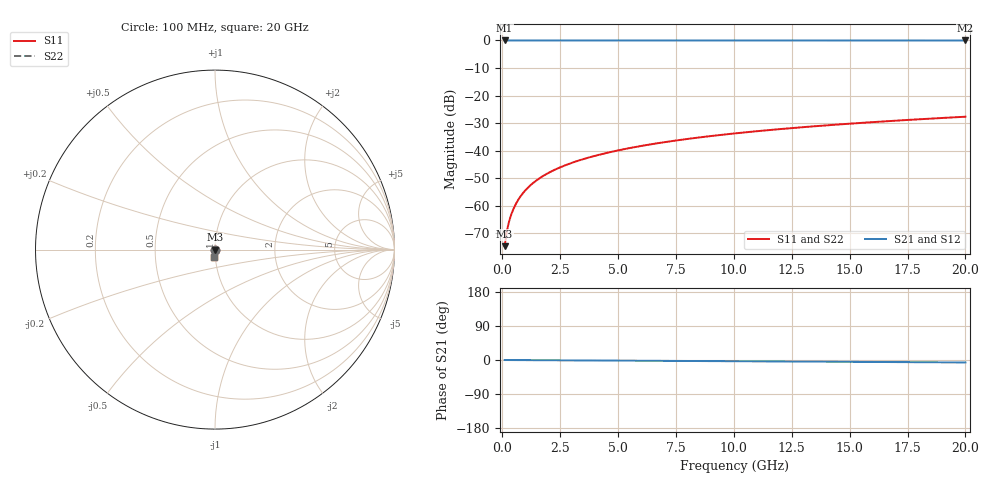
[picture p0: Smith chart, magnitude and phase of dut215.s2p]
! Touchstone file exported from HFSS 2026.1.0
!  File:  C:/ffzhzh/LocalFiles/Ansys_Project_Files/temp_train_TSV_215_1782992068_41620.aedt
!  Generated:  07:35:51 PM Jul  2, 2026
!  Design:  TSV
!  Project:  temp_train_TSV_215_1782992068_41620
! Variables:
!  h_bsmrdl = 2um
!  h_ox = 20um
!  h_rdl = 5um
!  h_sub = 60.42um
!  h_tmrdl = 5um
!  h_tsv = 60.42um
!  h_via = 3um
!  l_bsmrdl = 300um
!  l_sub = 427.28um
!  l_tmrdl = 200um
!  m_sub = 200um
!  pitch = 39.46um
!  r_tsv = 13.64um
!  s_tmrdl = 10um
!  w_bsmrdl = 18um
!  w_sub = 500um
!  w_tmrdl = 12um
!  x_tsv_center1 = 206um
!  x_tsv_center2 = 524um
!  x_tsv_center3 = 736um
!  x_tsv_center4 = 1054um
!  x_tsv_center5 = 1266um
!  x_tsv_center6 = 1584um
# GHz S MA R 50.000000
! Terminal data exported
! Port[1] = TSV1_1_T1
! Port[2] = TSV1_1_T2
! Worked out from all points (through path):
!   200 points, 100 MHz to 20 GHz, reference 50 ohm
!   highest |S21| = 0.00 dB at 100 MHz (marker M1); lowest = 0.0 dB at 20 GHz (marker M2)
!   lowest |S11| = -74.7 dB at 100 MHz (marker M3), VSWR 1.00, Z = 50 - j0.017 ohm
!   |S11| at or under -10 dB: start of sweep to end of sweep
!   |S22| runs from -74.7 to -27.7 dB; largest |S21 - S12| = 1.6e-14
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0.1  0.0001849 -67.2  0.9999 -0.0  0.9999 -0.0  0.0001849 -67.2
! Gamma 0 0 0 0
! Port Impedance 50 0 50 0
0.2  0.0003541 -76.4  0.9999 -0.1  0.9999 -0.1  0.0003541 -76.4
0.3  0.0005329 -79.2  0.9999 -0.1  0.9999 -0.1  0.0005329 -79.2
0.4  0.0007188 -80.4  0.9999 -0.1  0.9999 -0.1  0.0007188 -80.4
0.5  0.0009106 -81.2  0.9999 -0.2  0.9999 -0.2  0.0009106 -81.2
0.7  0.001306 -82.3  0.9998 -0.2  0.9998 -0.2  0.001306 -82.3
0.8  0.001508 -82.8  0.9998 -0.3  0.9998 -0.3  0.001508 -82.8
1  0.001915 -83.7  0.9998 -0.3  0.9998 -0.3  0.001915 -83.7
1.2  0.002323 -84.4  0.9998 -0.4  0.9998 -0.4  0.002323 -84.4
1.4  0.002733 -85.0  0.9997 -0.5  0.9997 -0.5  0.002733 -85.0
1.7  0.003347 -85.7  0.9997 -0.6  0.9997 -0.6  0.003347 -85.7
2  0.00396 -86.3  0.9997 -0.7  0.9997 -0.7  0.00396 -86.3
2.7  0.005391 -87.3  0.9996 -0.9  0.9996 -0.9  0.005391 -87.3
3.5  0.007029 -88.0  0.9996 -1.1  0.9996 -1.1  0.007029 -88.0
4.2  0.008467 -88.5  0.9995 -1.4  0.9995 -1.4  0.008467 -88.5
5  0.01012 -89.0  0.9995 -1.6  0.9995 -1.6  0.01012 -89.0
6.8  0.01384 -90.0  0.9994 -2.2  0.9994 -2.2  0.01384 -90.0
8.3  0.01695 -90.7  0.9993 -2.7  0.9993 -2.7  0.01695 -90.7
10.1  0.02069 -91.5  0.9991 -3.3  0.9991 -3.3  0.02069 -91.5
13.4  0.02756 -92.8  0.9989 -4.3  0.9989 -4.3  0.02756 -92.8
16.7  0.03442 -94.0  0.9986 -5.4  0.9986 -5.4  0.03442 -94.0
20  0.04129 -95.2  0.9982 -6.5  0.9982 -6.5  0.04129 -95.2
